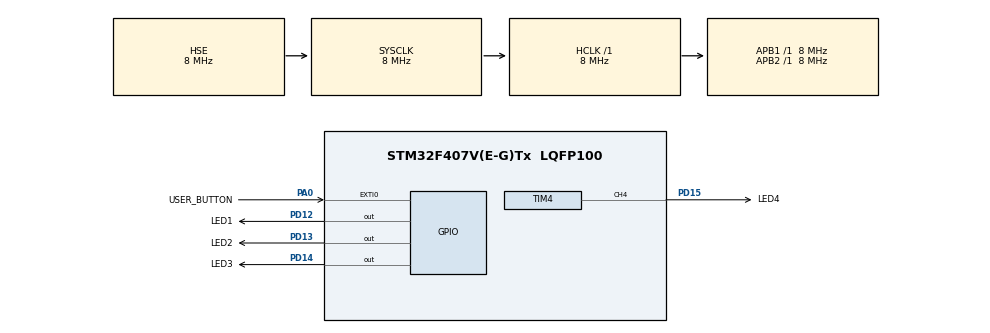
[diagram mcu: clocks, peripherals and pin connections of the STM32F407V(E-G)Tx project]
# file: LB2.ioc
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Mcu.Family=STM32F4
Mcu.Name=STM32F407V(E-G)Tx
Mcu.Package=LQFP100
NVIC.EXTI0_IRQn=true\:5\:0\:true\:false\:true\:true\:true\:true
NVIC.PriorityGroup=NVIC_PRIORITYGROUP_4
NVIC.TIM6_DAC_IRQn=true\:7\:0\:true\:false\:true\:true\:true\:true
PA0-WKUP.GPIO_Label=USER_BUTTON
PA0-WKUP.GPIO_ModeDefaultEXTI=GPIO_MODE_IT_RISING_FALLING
PA0-WKUP.Signal=GPXTI0
PD12.GPIO_Label=LED1
PD12.Signal=GPIO_Output
PD13.GPIO_Label=LED2
PD13.Signal=GPIO_Output
PD14.GPIO_Label=LED3
PD14.Signal=GPIO_Output
PD15.GPIO_Label=LED4
PD15.GPIO_Speed=GPIO_SPEED_FREQ_HIGH
PD15.Signal=S_TIM4_CH4
PH0-OSC_IN.Mode=HSE-External-Oscillator
PH0-OSC_IN.Signal=RCC_OSC_IN
PH1-OSC_OUT.Mode=HSE-External-Oscillator
PH1-OSC_OUT.Signal=RCC_OSC_OUT
ProjectManager.HeapSize=0x000
ProjectManager.StackSize=0x200
ProjectManager.TargetToolchain=STM32CubeIDE
RCC.48MHZClocksFreq_Value=48000000
RCC.AHBFreq_Value=8000000
RCC.APB1Freq_Value=8000000
RCC.APB1TimFreq_Value=8000000
RCC.APB2Freq_Value=8000000
RCC.APB2TimFreq_Value=8000000
RCC.CortexFreq_Value=8000000
RCC.HCLKFreq_Value=8000000
RCC.HSE_VALUE=8000000
RCC.HSI_VALUE=16000000
RCC.LSE_VALUE=32768
RCC.SYSCLKFreq_VALUE=8000000
RCC.SYSCLKSource=RCC_SYSCLKSOURCE_HSE
RCC.VCOOutputFreq_Value=192000000
SH.S_TIM4_CH4.0=TIM4_CH4,PWM Generation4 CH4
TIM4.AutoReloadPreload=TIM_AUTORELOAD_PRELOAD_ENABLE
TIM4.Channel-PWM\ Generation4\ CH4=TIM_CHANNEL_4
TIM6.Period=1000
TIM6.Prescaler=3999
VP_TIM4_VS_ClockSourceINT.Mode=Internal
VP_TIM6_VS_ClockSourceINT.Mode=Enable_Timer
VP_TIM6_VS_OPM.Mode=OPM_bit
board=custom

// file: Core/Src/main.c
/* USER CODE BEGIN Header */
/**
  ******************************************************************************
  * @file           : main.c
  * @brief          : Main program body
  ******************************************************************************
  * @attention
  *
  * Copyright (c) 2023 STMicroelectronics.
  * All rights reserved.
  *
  * This software is licensed under terms that can be found in the LICENSE file
  * in the root directory of this software component.
  * If no LICENSE file comes with this software, it is provided AS-IS.
  *
  ******************************************************************************
  */
/* USER CODE END Header */
#include "main.h"

TIM_HandleTypeDef htim4;
TIM_HandleTypeDef htim6;

/* USER CODE BEGIN PV */
uint8_t Button_Flag = 0;
uint8_t Button_Long = 0;

/* USER CODE END PV */

void SystemClock_Config(void);
static void MX_GPIO_Init(void);
static void MX_TIM4_Init(void);
static void MX_TIM6_Init(void);

int main(void)
{

  /* MCU Configuration--------------------------------------------------------*/

  /* Reset of all peripherals, Initializes the Flash interface and the Systick. */
  HAL_Init();

  /* Configure the system clock */
  SystemClock_Config();

  /* Initialize all configured peripherals */
  MX_GPIO_Init();
  MX_TIM4_Init();
  MX_TIM6_Init();
  /* USER CODE BEGIN 2 */
	uint16_t i = LED1_Pin;
	uint64_t Millis_Blink = 0;
	uint64_t Millis_PWM = 0;
	uint8_t DutyDir = 1;

	HAL_TIM_PWM_Start(&htim4, TIM_CHANNEL_4);

  /* USER CODE END 2 */

  /* Infinite loop */
  /* USER CODE BEGIN WHILE */
  while (1)
  {
		if (Button_Long)
		{
			HAL_GPIO_WritePin(LED1_GPIO_Port, LED1_Pin, GPIO_PIN_SET);
			HAL_GPIO_WritePin(LED2_GPIO_Port, LED2_Pin, GPIO_PIN_SET);
			HAL_GPIO_WritePin(LED3_GPIO_Port, LED3_Pin, GPIO_PIN_SET);
			i = LED1_Pin;
		}
		else if (Button_Flag)
		{
			if (HAL_GetTick() >= Millis_Blink)
			{
				HAL_GPIO_TogglePin(GPIOD, i);

				i <<= 1;

				if (i == LED4_Pin)
					i = LED1_Pin;

				Millis_Blink = HAL_GetTick() + 500;
			}
		}
		if (HAL_GetTick() >= Millis_PWM)
		{
			if (DutyDir)
			{
				TIM4->CCR4 += 100;
				if (TIM4->CCR4 - 100 >= TIM4->ARR)
					DutyDir = 0;
			}
			else
			{
				TIM4->CCR4 -= 100;
				if (TIM4->CCR4 == 0)
					DutyDir = 1;
			}
			Millis_PWM = HAL_GetTick() + 1;
		}
    /* USER CODE END WHILE */

  }
}

void SystemClock_Config(void)
{
  RCC_OscInitTypeDef RCC_OscInitStruct = {0};
  RCC_ClkInitTypeDef RCC_ClkInitStruct = {0};

  /** Configure the main internal regulator output voltage
  */
  __HAL_RCC_PWR_CLK_ENABLE();
  __HAL_PWR_VOLTAGESCALING_CONFIG(PWR_REGULATOR_VOLTAGE_SCALE1);

  /** Initializes the RCC Oscillators according to the specified parameters
  * in the RCC_OscInitTypeDef structure.
  */
  RCC_OscInitStruct.OscillatorType = RCC_OSCILLATORTYPE_HSE;
  RCC_OscInitStruct.HSEState = RCC_HSE_ON;
  RCC_OscInitStruct.PLL.PLLState = RCC_PLL_NONE;
  if (HAL_RCC_OscConfig(&RCC_OscInitStruct) != HAL_OK)
  {
    Error_Handler();
  }

  /** Initializes the CPU, AHB and APB buses clocks
  */
  RCC_ClkInitStruct.ClockType = RCC_CLOCKTYPE_HCLK|RCC_CLOCKTYPE_SYSCLK
                              |RCC_CLOCKTYPE_PCLK1|RCC_CLOCKTYPE_PCLK2;
  RCC_ClkInitStruct.SYSCLKSource = RCC_SYSCLKSOURCE_HSE;
  RCC_ClkInitStruct.AHBCLKDivider = RCC_SYSCLK_DIV1;
  RCC_ClkInitStruct.APB1CLKDivider = RCC_HCLK_DIV1;
  RCC_ClkInitStruct.APB2CLKDivider = RCC_HCLK_DIV1;

  if (HAL_RCC_ClockConfig(&RCC_ClkInitStruct, FLASH_LATENCY_0) != HAL_OK)
  {
    Error_Handler();
  }
}

static void MX_TIM4_Init(void)
{

  TIM_ClockConfigTypeDef sClockSourceConfig = {0};
  TIM_MasterConfigTypeDef sMasterConfig = {0};
  TIM_OC_InitTypeDef sConfigOC = {0};

  htim4.Instance = TIM4;
  htim4.Init.Prescaler = 0;
  htim4.Init.CounterMode = TIM_COUNTERMODE_UP;
  htim4.Init.Period = 65535;
  htim4.Init.ClockDivision = TIM_CLOCKDIVISION_DIV1;
  htim4.Init.AutoReloadPreload = TIM_AUTORELOAD_PRELOAD_ENABLE;
  if (HAL_TIM_Base_Init(&htim4) != HAL_OK)
  {
    Error_Handler();
  }
  sClockSourceConfig.ClockSource = TIM_CLOCKSOURCE_INTERNAL;
  if (HAL_TIM_ConfigClockSource(&htim4, &sClockSourceConfig) != HAL_OK)
  {
    Error_Handler();
  }
  if (HAL_TIM_PWM_Init(&htim4) != HAL_OK)
  {
    Error_Handler();
  }
  sMasterConfig.MasterOutputTrigger = TIM_TRGO_RESET;
  sMasterConfig.MasterSlaveMode = TIM_MASTERSLAVEMODE_DISABLE;
  if (HAL_TIMEx_MasterConfigSynchronization(&htim4, &sMasterConfig) != HAL_OK)
  {
    Error_Handler();
  }
  sConfigOC.OCMode = TIM_OCMODE_PWM1;
  sConfigOC.Pulse = 0;
  sConfigOC.OCPolarity = TIM_OCPOLARITY_HIGH;
  sConfigOC.OCFastMode = TIM_OCFAST_DISABLE;
  if (HAL_TIM_PWM_ConfigChannel(&htim4, &sConfigOC, TIM_CHANNEL_4) != HAL_OK)
  {
    Error_Handler();
  }
  HAL_TIM_MspPostInit(&htim4);

}

static void MX_TIM6_Init(void)
{

  TIM_MasterConfigTypeDef sMasterConfig = {0};

  htim6.Instance = TIM6;
  htim6.Init.Prescaler = 3999;
  htim6.Init.CounterMode = TIM_COUNTERMODE_UP;
  htim6.Init.Period = 1000;
  htim6.Init.AutoReloadPreload = TIM_AUTORELOAD_PRELOAD_DISABLE;
  if (HAL_TIM_Base_Init(&htim6) != HAL_OK)
  {
    Error_Handler();
  }
  if (HAL_TIM_OnePulse_Init(&htim6, TIM_OPMODE_SINGLE) != HAL_OK)
  {
    Error_Handler();
  }
  sMasterConfig.MasterOutputTrigger = TIM_TRGO_RESET;
  sMasterConfig.MasterSlaveMode = TIM_MASTERSLAVEMODE_DISABLE;
  if (HAL_TIMEx_MasterConfigSynchronization(&htim6, &sMasterConfig) != HAL_OK)
  {
    Error_Handler();
  }
  /* USER CODE BEGIN TIM6_Init 2 */
  TIM6->SR&=~TIM_SR_UIF;
  /* USER CODE END TIM6_Init 2 */

}

static void MX_GPIO_Init(void)
{
  GPIO_InitTypeDef GPIO_InitStruct = {0};

  /* GPIO Ports Clock Enable */
  __HAL_RCC_GPIOH_CLK_ENABLE();
  __HAL_RCC_GPIOA_CLK_ENABLE();
  __HAL_RCC_GPIOD_CLK_ENABLE();

  /*Configure GPIO pin Output Level */
  HAL_GPIO_WritePin(GPIOD, LED1_Pin|LED2_Pin|LED3_Pin, GPIO_PIN_RESET);

  /*Configure GPIO pin : USER_BUTTON_Pin */
  GPIO_InitStruct.Pin = USER_BUTTON_Pin;
  GPIO_InitStruct.Mode = GPIO_MODE_IT_RISING_FALLING;
  GPIO_InitStruct.Pull = GPIO_NOPULL;
  HAL_GPIO_Init(USER_BUTTON_GPIO_Port, &GPIO_InitStruct);

  /*Configure GPIO pins : LED1_Pin LED2_Pin LED3_Pin */
  GPIO_InitStruct.Pin = LED1_Pin|LED2_Pin|LED3_Pin;
  GPIO_InitStruct.Mode = GPIO_MODE_OUTPUT_PP;
  GPIO_InitStruct.Pull = GPIO_NOPULL;
  GPIO_InitStruct.Speed = GPIO_SPEED_FREQ_LOW;
  HAL_GPIO_Init(GPIOD, &GPIO_InitStruct);

  /* EXTI interrupt init*/
  HAL_NVIC_SetPriority(EXTI0_IRQn, 5, 0);
  HAL_NVIC_EnableIRQ(EXTI0_IRQn);

}

void Error_Handler(void)
{
  __disable_irq();
  while (1)
  {
  }
}
